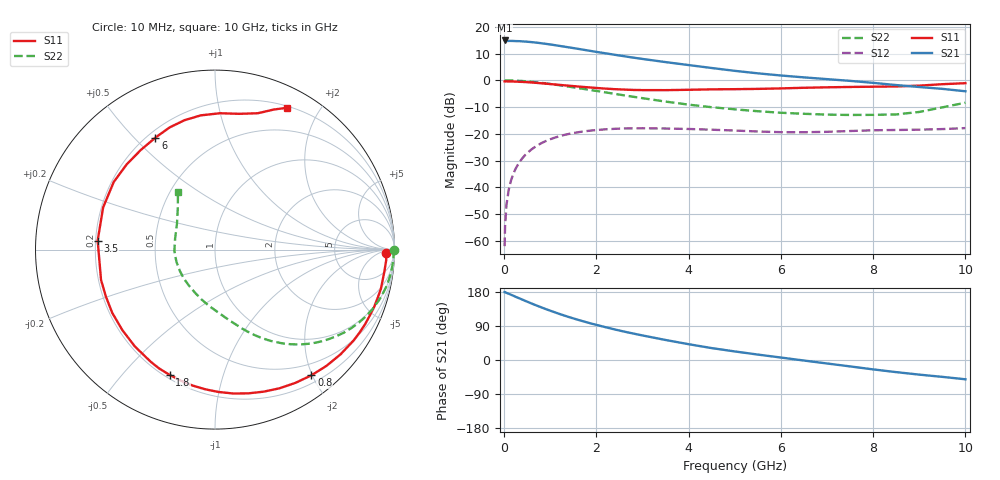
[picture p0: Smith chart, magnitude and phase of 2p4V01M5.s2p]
! (c) 2009  Infineon Technologies AG, Munich
! Infineon Technologies  Discrete & RF Semiconductors
! BFP420
! VCE =  4.0 V,  IC =  1.5 mA
! Common Emitter S-Parameters:  Nov 2009
# GHz  S  MA  R  50
!  f  S11  S21  S12  S22
! GHz  MAG  ANG  MAG  ANG  MAG  ANG  MAG  ANG
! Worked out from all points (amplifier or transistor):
!   46 points, 10 MHz to 10 GHz, reference 50 ohm
!   highest |S21| = 14.9 dB at 10 MHz (marker M1)
!   |S21| within 3 dB of that: start of sweep to 1.555 GHz
!   unconditionally stable (mu >= 1): 4.155 GHz to end of sweep
!   at 300 MHz: K = 0.04, MSG = 23.0 dB, |S12| = -31.4 dB
!   at 1.7 GHz: K = 0.30, MSG = 15.3 dB, |S12| = -19.1 dB
!   at 10 GHz: K = 1.27, MAG = 3.7 dB, |S12| = -17.8 dB
!   lowest NFmin = 0.52 dB at 900 MHz
!   S11 on the Smith chart (normalised r, x): 10 MHz: 35, -17; 800 MHz: 0.31, -1.99; 1.8 GHz: 0.22, -0.68; 3.5 GHz: 0.21, +0.04; 6 GHz: 0.23, +0.58; 10 GHz: 0.22, +1.60
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0.01  0.955 -1.3  5.554 179.3  0.0008 44.4  0.9953 0.0
0.02  0.9504 -1.3  5.386 179.2  0.0019 75.8  0.9948 -0.6
0.05  0.9559 -3.4  5.416 177.2  0.0047 82.2  0.9953 -1.7
0.1  0.9521 -6.7  5.444 174.8  0.0091 83.6  0.9942 -3.5
0.2  0.9498 -13.3  5.433 169.6  0.018 81.2  0.9892 -7.0
0.5  0.9237 -33.2  5.258 153.9  0.0439 70.5  0.9552 -17.3
0.8  0.8826 -52.5  4.932 139.2  0.0666 59.6  0.8992 -26.9
1  0.8523 -65.0  4.673 130.1  0.0795 52.9  0.8551 -32.7
1.2  0.8221 -77.0  4.399 121.5  0.0905 46.7  0.8084 -38.0
1.4  0.7934 -88.6  4.128 113.5  0.0997 40.8  0.7624 -42.9
1.7  0.7537 -104.8  3.754 102.6  0.1104 32.9  0.6955 -49.4
1.8  0.7425 -109.9  3.623 99.2  0.1132 30.5  0.6746 -51.4
2.2  0.7002 -129.7  3.194 86.5  0.1217 21.7  0.5952 -58.7
2.6  0.6723 -148.4  2.821 75.0  0.1261 13.9  0.5244 -65.2
3  0.657 -165.1  2.508 64.8  0.1273 7.3  0.4643 -71.1
3.5  0.6557 175.6  2.19 52.8  0.126 0.6  0.4009 -78.7
4.5  0.6784 146.3  1.699 31.4  0.1197 -8.8  0.3149 -96.2
5.5  0.692 126.7  1.351 14.3  0.1108 -13.4  0.2648 -114.9
6  0.7068 118.0  1.231 6.5  0.1076 -13.7  0.248 -125.6
7  0.7407 103.3  1.053 -9.2  0.1093 -13.2  0.229 -148.8
8.5  0.7686 79.8  0.816 -32.0  0.1183 -17.4  0.2308 164.3
10  0.8848 63.2  0.625 -50.9  0.1283 -19.8  0.382 122.7
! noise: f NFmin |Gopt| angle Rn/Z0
0.9  0.52  0.55  33  0.27
1.8  1.07  0.35  77  0.21
2.4  1.18  0.36  101  0.18
3  1.41  0.36  134  0.13
4  1.68  0.4  -172  0.1
5  2.08  0.44  -130  0.32
6  2.89  0.57  -114  0.39
